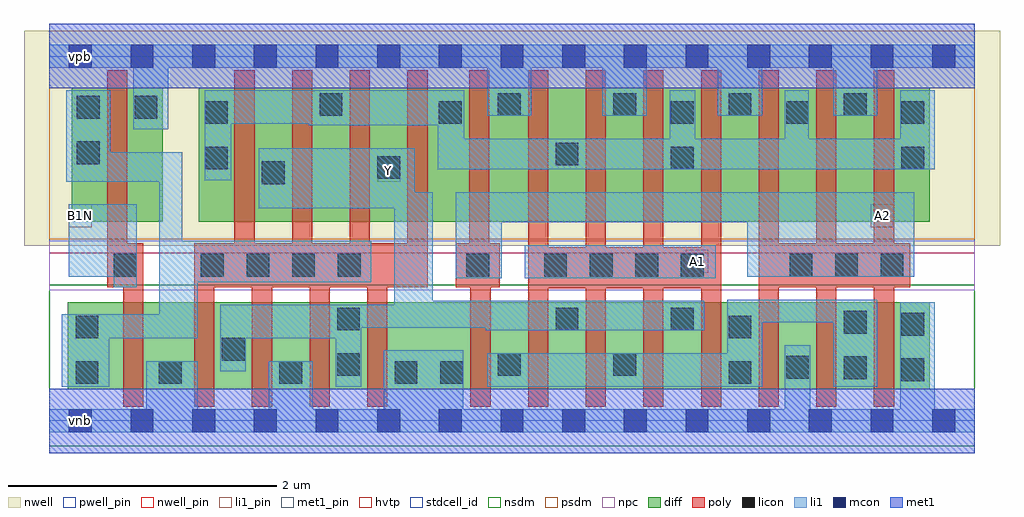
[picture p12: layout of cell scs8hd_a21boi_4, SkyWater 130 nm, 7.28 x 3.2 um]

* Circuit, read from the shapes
.subckt scs8hd_a21boi_4 A1 A2 B1N Y vgnd vnb vpb vpwr
XM1 vgnd B1N n1 vnb sky130_fd_pr__nfet_01v8 w=0.65 l=0.15
XM2 Y n1 vgnd vnb sky130_fd_pr__nfet_01v8 w=0.65 l=0.15 m=4
XM3 n2 A2 vgnd vnb sky130_fd_pr__nfet_01v8 w=0.65 l=0.15 m=4
XM4 Y A1 n2 vnb sky130_fd_pr__nfet_01v8 w=0.65 l=0.15 m=4
XM5 vpwr B1N n1 vpb sky130_fd_pr__pfet_01v8_hvt w=1 l=0.15
XM6 Y n1 n3 vpb sky130_fd_pr__pfet_01v8_hvt w=1 l=0.15 m=4
XM7 vpwr A2 n3 vpb sky130_fd_pr__pfet_01v8_hvt w=1 l=0.15 m=4
XM8 n3 A1 vpwr vpb sky130_fd_pr__pfet_01v8_hvt w=1 l=0.15 m=4
.ends

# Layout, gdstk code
import gdstk
lib = gdstk.Library(unit=1e-6, precision=1e-09)
def R(c, l, rs):  # rectangles x0, y0, x1, y1
    for r in rs: c.add(gdstk.rectangle(r[:2], r[2:], *l))
def A(c, l, x, y, w, h, nx, ny, dx, dy):  # array of equal rectangles
    R(c, l, [(x+i*dx, y+j*dy, x+i*dx+w, y+j*dy+h) for i in range(nx) for j in range(ny)])
def P(c, l, *ps):  # polygons
    for p in ps: c.add(gdstk.Polygon(p, *l))
nwell_pin = (64, 16)
nwell = (64, 20)
diff = (65, 20)
poly = (66, 20)
licon = (66, 44)
li1_pin = (67, 16)
li1 = (67, 20)
mcon = (67, 44)
met1_pin = (68, 16)
met1 = (68, 20)
hvtp = (78, 44)
stdcell_id = (81, 4)
nsdm = (93, 44)
psdm = (94, 20)
npc = (95, 20)
pwell_pin = (122, 16)

scs8hd_a21boi_4 = lib.new_cell('scs8hd_a21boi_4')
R(scs8hd_a21boi_4, nwell_pin, [(0.145,2.635,0.315,2.805)])
R(scs8hd_a21boi_4, nwell, [(-0.19,1.305,7.09,2.91)])
R(scs8hd_a21boi_4, diff, [(0.135,0.235,6.565,0.885), (0.165,1.485,0.845,2.485), (1.115,1.485,6.565,2.485)])
P(scs8hd_a21boi_4, poly, [(0.7,1.325),(0.58,1.325),(0.58,2.615),(0.43,2.615),(0.43,0.995),(0.55,0.995),(0.55,0.105),(0.7,0.105)],
  [(2.82,2.615),(2.67,2.615),(2.67,1.325),(2.39,1.325),(2.39,2.615),(2.24,2.615),(2.24,1.325),(1.96,1.325),(1.96,2.615),(1.81,2.615),(1.81,1.325),(1.53,1.325),(1.53,2.615),(1.38,2.615),(1.38,1.325),(1.08,1.325),(1.08,0.105),(1.23,0.105),(1.23,0.995),(1.51,0.995),(1.51,0.105),(1.66,0.105),(1.66,0.995),(1.94,0.995),(1.94,0.105),(2.09,0.105),(2.09,0.995),(2.37,0.995),(2.37,0.105),(2.52,0.105),(2.52,0.995),(2.82,0.995)],
  [(3.36,1.325),(3.28,1.325),(3.28,2.615),(3.13,2.615),(3.13,1.325),(3.03,1.325),(3.03,0.995),(3.14,0.995),(3.14,0.105),(3.29,0.105),(3.29,0.995),(3.36,0.995)],
  [(5.01,2.615),(4.86,2.615),(4.86,1.295),(4.58,1.295),(4.58,2.615),(4.43,2.615),(4.43,1.295),(4.15,1.295),(4.15,2.615),(4,2.615),(4,1.295),(3.72,1.295),(3.72,2.615),(3.57,2.615),(3.57,0.105),(3.72,0.105),(3.72,0.99),(4,0.99),(4,0.105),(4.15,0.105),(4.15,0.99),(4.43,0.99),(4.43,0.105),(4.58,0.105),(4.58,0.99),(4.86,0.99),(4.86,0.105),(5.01,0.105)],
  [(6.42,1.325),(6.3,1.325),(6.3,2.615),(6.15,2.615),(6.15,1.325),(5.87,1.325),(5.87,2.615),(5.72,2.615),(5.72,1.325),(5.44,1.325),(5.44,2.615),(5.29,2.615),(5.29,0.105),(5.44,0.105),(5.44,0.995),(5.72,0.995),(5.72,0.105),(5.87,0.105),(5.87,0.995),(6.15,0.995),(6.15,0.105),(6.3,0.105),(6.3,0.995),(6.42,0.995)])
A(scs8hd_a21boi_4, licon, 1.13, 1.075, 0.17, 0.17, 4, 1, 0.34, 0)
A(scs8hd_a21boi_4, licon, 3.69, 1.075, 0.17, 0.17, 4, 1, 0.34, 0)
A(scs8hd_a21boi_4, licon, 5.52, 1.075, 0.17, 0.17, 3, 1, 0.34, 0)
A(scs8hd_a21boi_4, licon, 4.635, 2.215, 0.17, 0.17, 3, 1, 0.86, 0)
A(scs8hd_a21boi_4, licon, 3.345, 2.275, 0.17, 0.17, 4, 1, 0.86, 0)
R(scs8hd_a21boi_4, licon, [(0.195,0.275,0.365,0.445), (0.815,0.275,0.985,0.445), (1.715,0.275,1.885,0.445), (2.575,0.275,2.745,0.445), (2.915,0.275,3.085,0.445), (5.065,0.275,5.235,0.445), (6.355,0.295,6.525,0.465), (5.925,0.31,6.095,0.48), (5.495,0.315,5.665,0.485), (2.145,0.335,2.315,0.505), (3.345,0.335,3.515,0.505), (4.205,0.335,4.375,0.505), (1.285,0.45,1.455,0.62), (0.195,0.615,0.365,0.785), (5.065,0.615,5.235,0.785), (6.355,0.635,6.525,0.805), (5.925,0.65,6.095,0.82), (2.145,0.675,2.315,0.845), (3.775,0.675,3.945,0.845), (4.635,0.675,4.805,0.845), (0.48,1.075,0.65,1.245), (3.11,1.075,3.28,1.245), (1.585,1.765,1.755,1.935), (2.445,1.805,2.615,1.975), (1.16,1.875,1.33,2.045), (4.635,1.875,4.805,2.045), (6.355,1.875,6.525,2.045), (3.775,1.905,3.945,2.075), (0.205,1.915,0.375,2.085), (1.16,2.215,1.33,2.385), (2.905,2.215,3.075,2.385), (0.205,2.255,0.375,2.425), (0.635,2.255,0.805,2.425), (2.015,2.275,2.185,2.445)])
R(scs8hd_a21boi_4, li1_pin, [(4.745,1.105,4.915,1.275), (0.145,1.445,0.315,1.615), (6.125,1.445,6.295,1.615), (2.445,1.785,2.615,1.955)])
R(scs8hd_a21boi_4, li1, [(3.545,1.065,4.97,1.31)])
P(scs8hd_a21boi_4, li1, [(0.65,1.615),(0.145,1.615),(0.145,1.075),(0.48,1.075),(0.48,0.995),(0.65,0.995)],
  [(2.4,1.345),(0.99,1.345),(0.99,2.005),(0.455,2.005),(0.455,2.465),(0.125,2.465),(0.125,1.785),(0.82,1.785),(0.82,0.795),(0.09,0.795),(0.09,0.255),(0.445,0.255),(0.445,0.615),(1.105,0.615),(1.105,1.035),(2.4,1.035)],
  [(4.885,0.895),(2.86,0.895),(2.86,1.705),(2.725,1.705),(2.725,2.035),(1.56,2.035),(1.56,1.585),(2.57,1.585),(2.57,0.865),(1.275,0.865),(1.275,0.37),(1.465,0.37),(1.465,0.615),(2.135,0.615),(2.135,0.255),(2.325,0.255),(2.325,0.695),(3.255,0.695),(3.255,0.675),(4.885,0.675)],
  [(6.9,0.085),(6.605,0.085),(6.605,0.885),(6.345,0.885),(6.345,0.085),(5.675,0.085),(5.675,0.565),(5.485,0.565),(5.485,0.085),(3.085,0.085),(3.085,0.525),(2.495,0.525),(2.495,0.085),(1.965,0.085),(1.965,0.445),(1.635,0.445),(1.635,0.085),(1.105,0.085),(1.105,0.445),(0.72,0.445),(0.72,0.085),(0,0.085),(0,-0.085),(6.9,-0.085)],
  [(6.9,2.805),(0,2.805),(0,2.635),(0.625,2.635),(0.625,2.175),(0.885,2.175),(0.885,2.635),(3.265,2.635),(3.265,2.275),(3.595,2.275),(3.595,2.635),(4.125,2.635),(4.125,2.275),(4.455,2.275),(4.455,2.635),(4.985,2.635),(4.985,2.275),(5.315,2.275),(5.315,2.635),(5.845,2.635),(5.845,2.275),(6.175,2.275),(6.175,2.635),(6.9,2.635)],
  [(6.175,0.905),(5.055,0.905),(5.055,0.505),(3.265,0.505),(3.265,0.255),(5.315,0.255),(5.315,0.735),(5.845,0.735),(5.845,0.255),(6.175,0.255)],
  [(6.45,1.705),(3.03,1.705),(3.03,1.065),(3.375,1.065),(3.375,1.48),(5.205,1.48),(5.205,1.075),(6.45,1.075)],
  [(6.605,2.465),(6.345,2.465),(6.345,2.105),(5.665,2.105),(5.665,2.465),(5.485,2.465),(5.485,2.105),(4.815,2.105),(4.815,2.465),(4.625,2.465),(4.625,2.105),(3.095,2.105),(3.095,2.465),(1.16,2.465),(1.16,1.795),(1.355,1.795),(1.355,2.215),(1.935,2.215),(1.935,2.205),(2.895,2.205),(2.895,1.875),(6.605,1.875)])
A(scs8hd_a21boi_4, mcon, 0.145, -0.085, 0.17, 0.17, 15, 2, 0.46, 2.72)
R(scs8hd_a21boi_4, met1_pin, [(0.145,-0.085,0.315,0.085), (0.145,2.635,0.315,2.805)])
R(scs8hd_a21boi_4, hvtp, [(0,1.25,6.9,2.72)])
R(scs8hd_a21boi_4, stdcell_id, [(0,0,6.9,2.72)])
R(scs8hd_a21boi_4, nsdm, [(0,-0.19,6.9,1.015)])
R(scs8hd_a21boi_4, psdm, [(0,1.355,6.9,2.91)])
R(scs8hd_a21boi_4, npc, [(0,0.975,6.9,1.345)])
R(scs8hd_a21boi_4, pwell_pin, [(0.145,-0.085,0.315,0.085)])
scs8hd_a21boi_4.add(gdstk.FlexPath([(0,2.72),(6.9,2.72)], 0.48, ends="flush", simple_path=True, layer=68, datatype=20))  # met1
scs8hd_a21boi_4.add(gdstk.FlexPath([(0,0),(6.9,0)], 0.48, ends="flush", simple_path=True, layer=68, datatype=20))  # met1
scs8hd_a21boi_4.add(gdstk.Label('Y', (2.53,1.87), layer=67, texttype=5))
scs8hd_a21boi_4.add(gdstk.Label('A1', (4.83,1.19), layer=67, texttype=5))
scs8hd_a21boi_4.add(gdstk.Label('B1N', (0.23,1.53), layer=67, texttype=5))
scs8hd_a21boi_4.add(gdstk.Label('A2', (6.21,1.53), layer=67, texttype=5))
scs8hd_a21boi_4.add(gdstk.Label('vnb', (0.23,0), layer=64, texttype=59))
scs8hd_a21boi_4.add(gdstk.Label('vpb', (0.23,2.72), layer=64, texttype=5))
scs8hd_a21boi_4.add(gdstk.Label('vgnd', (0.23,0), layer=68, texttype=5))
scs8hd_a21boi_4.add(gdstk.Label('vpwr', (0.23,2.72), layer=68, texttype=5))
scs8hd_a21boi_4.add(gdstk.Label('scs8hd_a21boi_4', (0,0), layer=83, texttype=44))

lib.write_gds('scs8hd_a21boi_4.gds')
